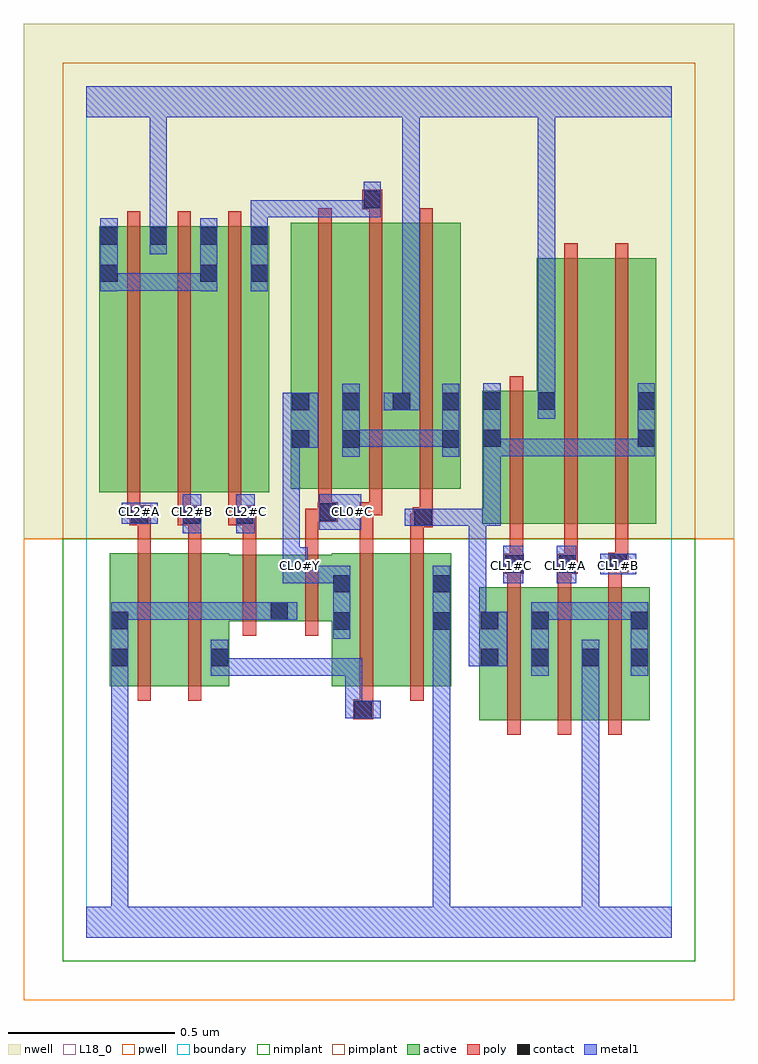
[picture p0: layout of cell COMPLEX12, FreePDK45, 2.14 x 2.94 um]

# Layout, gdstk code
import gdstk
lib = gdstk.Library(unit=1e-6, precision=1e-09)
def R(c, l, rs):  # rectangles x0, y0, x1, y1
    for r in rs: c.add(gdstk.rectangle(r[:2], r[2:], *l))
def A(c, l, x, y, w, h, nx, ny, dx, dy):  # array of equal rectangles
    R(c, l, [(x+i*dx, y+j*dy, x+i*dx+w, y+j*dy+h) for i in range(nx) for j in range(ny)])
active = (1, 0)
pwell = (2, 0)
nwell = (3, 0)
nimplant = (4, 0)
pimplant = (5, 0)
poly = (9, 0)
contact = (10, 0)
metal1 = (11, 0)
L18_0 = (18, 0)
boundary = (235, 0)

complex12 = lib.new_cell('COMPLEX12')
R(complex12, active, [(1.182,0.654,1.394,1.054), (1.334,0.654,1.546,1.054), (1.486,0.654,1.694,1.054), (1.486,0.654,1.546,0.872), (1.634,0.654,1.694,1.054), (0.07,0.756,0.13,1.156), (0.07,0.756,0.25,1.156), (0.25,0.756,0.43,1.156), (0.37,0.756,0.43,0.952), (0.738,0.756,0.918,1.156), (0.738,0.756,0.798,1.152), (0.918,0.756,1.098,1.156), (1.038,0.756,1.098,1.156), (1.182,0.756,1.242,1.054), (1.334,0.756,1.394,0.984), (0.37,0.952,0.61,1.152), (0.55,0.952,0.798,1.152), (0.55,0.952,0.61,1.012), (1.19,1.244,1.25,1.644), (1.19,1.244,1.414,1.644), (1.354,1.244,1.414,1.644), (1.354,1.244,1.534,2.044), (1.534,1.244,1.714,2.044), (1.654,1.244,1.714,2.044), (0.038,1.34,0.098,2.14), (0.038,1.34,0.246,2.14), (0.186,1.34,0.398,2.14), (0.338,1.34,0.55,2.14), (0.49,1.34,0.55,2.14), (0.614,1.35,0.674,2.15), (0.614,1.35,0.826,2.15), (0.766,1.35,0.826,2.044), (0.766,1.35,0.978,2.15), (0.918,1.35,1.126,2.15), (1.066,1.35,1.126,2.044), (0.918,1.5,0.978,2.044), (0.186,1.686,0.246,2.14), (0.338,1.686,0.398,2.14)])
R(complex12, pwell, [(-0.188,-0.188,1.948,1.2)])
R(complex12, nwell, [(-0.188,1.2,1.948,2.748)])
R(complex12, nimplant, [(-0.072,-0.072,1.832,1.2)])
R(complex12, pimplant, [(-0.072,1.2,1.832,2.632)])
A(complex12, poly, 1.266, 0.61, 0.04, 0.488, 3, 1, 0.152, 0)
A(complex12, poly, 0.122, 1.26, 0.04, 0.076, 3, 1, 0.152, 0)
A(complex12, poly, 0.122, 1.296, 0.04, 0.888, 3, 1, 0.152, 0)
A(complex12, poly, 0.698, 1.306, 0.04, 0.888, 3, 1, 0.152, 0)
R(complex12, poly, [(0.802,0.656,0.862,0.716), (0.822,0.676,0.862,0.752), (0.154,0.712,0.194,1.2), (0.306,0.712,0.346,1.2), (0.822,0.712,0.862,1.2), (0.974,0.712,1.014,1.2), (0.47,0.908,0.51,1.196), (0.658,0.908,0.698,1.196), (1.266,1.058,1.306,1.134), (1.418,1.058,1.458,1.134), (1.57,1.058,1.61,1.138), (1.256,1.094,1.316,1.154), (1.418,1.094,1.458,1.134), (1.418,1.094,1.458,1.134), (1.418,1.094,1.478,1.154), (1.57,1.098,1.63,1.158), (1.274,1.114,1.314,1.154), (1.274,1.114,1.314,1.154), (1.274,1.114,1.314,1.24), (1.438,1.114,1.478,1.24), (1.59,1.118,1.63,1.24), (1.59,1.118,1.63,1.158), (1.59,1.118,1.63,1.158), (0.47,1.156,0.51,1.28), (0.658,1.156,0.698,1.29), (0.154,1.16,0.194,1.28), (0.306,1.16,0.346,1.28), (0.822,1.16,0.862,1.31), (0.974,1.16,1.014,1.274), (1.274,1.2,1.314,1.688), (1.438,1.2,1.478,2.088), (1.59,1.2,1.63,2.088), (0.974,1.234,1.022,1.274), (0.982,1.234,1.022,1.274), (0.982,1.234,1.042,1.294), (0.13,1.24,0.194,1.3), (0.274,1.24,0.346,1.3), (0.306,1.24,0.346,1.28), (0.306,1.24,0.346,1.28), (0.426,1.24,0.506,1.3), (0.466,1.24,0.506,1.28), (0.466,1.24,0.51,1.28), (0.658,1.25,0.736,1.29), (0.696,1.25,0.736,1.29), (0.696,1.25,0.756,1.31), (1.002,1.254,1.042,1.346), (0.122,1.26,0.17,1.3), (0.13,1.26,0.17,1.3), (0.698,1.27,0.738,1.346), (0.822,1.27,0.862,1.31), (0.822,1.27,0.862,1.31), (0.822,1.27,0.89,1.31), (0.85,1.27,0.89,1.346), (0.85,2.154,0.89,2.23), (0.83,2.19,0.89,2.25)])
A(complex12, contact, 1.186, 0.816, 0.052, 0.052, 3, 1, 0.152, 0)
A(complex12, contact, 0.618, 1.586, 0.052, 0.052, 3, 1, 0.152, 0)
A(complex12, contact, 0.19, 2.084, 0.052, 0.052, 3, 1, 0.152, 0)
R(complex12, contact, [(0.806,0.66,0.858,0.712), (0.074,0.816,0.126,0.868), (0.374,0.816,0.426,0.868), (1.638,0.816,1.69,0.868), (0.742,0.926,0.794,0.978), (1.042,0.926,1.094,0.978), (0.074,0.928,0.126,0.98), (1.186,0.928,1.238,0.98), (1.338,0.928,1.39,0.98), (1.638,0.928,1.69,0.98), (0.554,0.956,0.606,1.008), (0.742,1.038,0.794,1.09), (1.042,1.038,1.094,1.09), (1.26,1.098,1.312,1.15), (1.422,1.098,1.474,1.15), (1.574,1.102,1.626,1.154), (0.986,1.238,1.038,1.29), (0.134,1.244,0.186,1.296), (0.29,1.244,0.342,1.296), (0.45,1.244,0.502,1.296), (0.7,1.254,0.752,1.306), (0.618,1.474,0.67,1.526), (0.77,1.474,0.822,1.526), (1.07,1.474,1.122,1.526), (1.194,1.476,1.246,1.528), (1.658,1.476,1.71,1.528), (1.07,1.586,1.122,1.638), (1.194,1.588,1.246,1.64), (1.358,1.588,1.41,1.64), (1.658,1.588,1.71,1.64), (0.042,1.972,0.094,2.024), (0.342,1.972,0.394,2.024), (0.494,1.972,0.546,2.024), (0.042,2.084,0.094,2.136), (0.834,2.194,0.886,2.246)])
R(complex12, metal1, [(0,0,1.76,0.092), (0.074,0.04,0.126,0.092), (0.074,0.04,0.126,0.092), (0.074,0.04,0.126,0.092), (0.074,0.04,0.126,0.092), (0.074,0.04,0.126,0.092), (0.074,0.04,0.126,0.092), (0.074,0.04,0.126,0.092), (0.074,0.04,0.126,0.092), (0.074,0.04,0.126,0.092), (0.074,0.04,0.126,0.092), (0.074,0.04,0.126,0.092), (0.074,0.04,0.126,0.092), (0.074,0.04,0.126,0.84), (1.042,0.04,1.094,0.092), (1.042,0.04,1.094,0.092), (1.042,0.04,1.094,0.092), (1.042,0.04,1.094,0.092), (1.042,0.04,1.094,0.092), (1.042,0.04,1.094,0.092), (1.042,0.04,1.094,0.092), (1.042,0.04,1.094,0.092), (1.042,0.04,1.094,0.092), (1.042,0.04,1.094,0.092), (1.042,0.04,1.094,0.092), (1.042,0.04,1.094,0.092), (1.042,0.04,1.094,0.95), (1.49,0.04,1.542,0.84), (0.778,0.66,0.83,0.712), (0.778,0.66,0.83,0.712), (0.778,0.66,0.886,0.712), (0.778,0.66,0.83,0.84), (0.074,0.788,0.126,1.008), (0.374,0.788,0.426,0.896), (0.374,0.788,0.532,0.84), (0.48,0.788,0.532,0.84), (0.48,0.788,0.536,0.84), (0.484,0.788,0.536,0.84), (0.484,0.788,0.684,0.84), (0.632,0.788,0.684,0.84), (0.632,0.788,0.684,0.84), (0.632,0.788,0.684,0.84), (0.632,0.788,0.83,0.84), (0.778,0.788,0.83,0.84), (1.338,0.788,1.39,1.008), (1.49,0.788,1.542,0.84), (1.49,0.788,1.542,0.84), (1.49,0.788,1.542,0.84), (1.49,0.788,1.542,0.84), (1.49,0.788,1.542,0.84), (1.49,0.788,1.542,0.84), (1.49,0.788,1.542,0.84), (1.49,0.788,1.542,0.84), (1.49,0.788,1.542,0.84), (1.49,0.788,1.542,0.84), (1.49,0.788,1.542,0.84), (1.49,0.788,1.542,0.84), (1.49,0.788,1.542,0.896), (1.638,0.788,1.69,1.008), (1.15,0.816,1.266,0.98), (0.742,0.898,0.794,1.118), (1.042,0.898,1.094,1.118), (1.15,0.928,1.202,1.29), (0.074,0.956,0.126,1.008), (0.074,0.956,0.126,1.008), (0.074,0.956,0.126,1.008), (0.074,0.956,0.126,1.008), (0.074,0.956,0.126,1.008), (0.074,0.956,0.126,1.008), (0.074,0.956,0.126,1.008), (0.074,0.956,0.126,1.008), (0.074,0.956,0.284,1.008), (0.232,0.956,0.284,1.008), (0.232,0.956,0.284,1.008), (0.232,0.956,0.284,1.008), (0.232,0.956,0.426,1.008), (0.374,0.956,0.426,1.008), (0.374,0.956,0.426,1.008), (0.374,0.956,0.426,1.008), (0.374,0.956,0.578,1.008), (0.526,0.956,0.634,1.008), (1.338,0.956,1.39,1.008), (1.338,0.956,1.39,1.008), (1.338,0.956,1.542,1.008), (1.49,0.956,1.542,1.008), (1.49,0.956,1.69,1.008), (1.638,0.956,1.69,1.008), (1.638,0.956,1.69,1.008), (0.59,1.066,0.666,1.174), (0.614,1.066,0.666,1.118), (0.614,1.066,0.666,1.118), (0.614,1.066,0.794,1.118), (0.742,1.066,0.794,1.118), (0.742,1.066,0.794,1.118), (1.254,1.066,1.314,1.178), (1.414,1.066,1.474,1.178), (1.546,1.092,1.654,1.154), (0.59,1.122,0.642,1.526), (0.29,1.216,0.346,1.334), (0.45,1.216,0.506,1.334), (0.7,1.226,0.826,1.334), (0.958,1.238,1.066,1.29), (1.014,1.238,1.066,1.29), (1.014,1.238,1.066,1.29), (1.014,1.238,1.202,1.29), (1.15,1.238,1.202,1.29), (1.15,1.238,1.202,1.29), (1.15,1.238,1.246,1.29), (1.194,1.238,1.246,1.5), (0.106,1.244,0.214,1.308), (0.77,1.446,0.822,1.666), (1.07,1.446,1.122,1.666), (1.194,1.448,1.246,1.5), (1.194,1.448,1.246,1.5), (1.194,1.448,1.246,1.668), (1.194,1.448,1.432,1.5), (1.38,1.448,1.432,1.5), (1.38,1.448,1.432,1.5), (1.38,1.448,1.432,1.5), (1.38,1.448,1.542,1.5), (1.49,1.448,1.542,1.5), (1.49,1.448,1.71,1.5), (1.658,1.448,1.71,1.5), (1.658,1.448,1.71,1.5), (1.658,1.448,1.71,1.668), (0.59,1.474,0.642,1.526), (0.59,1.474,0.642,1.526), (0.59,1.474,0.698,1.638), (0.77,1.476,0.822,1.528), (0.77,1.476,0.822,1.528), (0.77,1.476,0.956,1.528), (0.904,1.476,0.956,1.528), (0.904,1.476,1.092,1.528), (1.04,1.476,1.092,1.528), (1.04,1.476,1.122,1.528), (1.358,1.56,1.41,1.668), (0.894,1.586,1.002,1.638), (0.95,1.586,1.002,1.638), (0.95,1.586,1.002,1.638), (0.95,1.586,1.002,1.638), (0.95,1.586,1.002,1.638), (0.95,1.586,1.002,1.638), (0.95,1.586,1.002,1.638), (0.95,1.586,1.002,1.638), (0.95,1.586,1.002,1.638), (0.95,1.586,1.002,2.52), (1.358,1.616,1.41,2.52), (0.042,1.944,0.094,2.164), (0.342,1.944,0.394,2.164), (0.494,1.944,0.546,2.164), (0.042,1.946,0.094,1.998), (0.042,1.946,0.094,1.998), (0.042,1.946,0.236,1.998), (0.184,1.946,0.236,1.998), (0.184,1.946,0.236,1.998), (0.184,1.946,0.236,1.998), (0.184,1.946,0.394,1.998), (0.19,2.056,0.242,2.164), (0.19,2.112,0.242,2.164), (0.19,2.112,0.242,2.164), (0.19,2.112,0.242,2.164), (0.19,2.112,0.242,2.164), (0.19,2.112,0.242,2.164), (0.19,2.112,0.242,2.164), (0.19,2.112,0.242,2.164), (0.19,2.112,0.242,2.164), (0.19,2.112,0.242,2.52), (0.494,2.112,0.546,2.218), (0.494,2.166,0.546,2.218), (0.494,2.166,0.656,2.218), (0.604,2.166,0.656,2.218), (0.604,2.166,0.656,2.218), (0.604,2.166,0.656,2.218), (0.604,2.166,0.794,2.218), (0.742,2.166,0.794,2.218), (0.742,2.166,0.886,2.218), (0.834,2.166,0.886,2.274), (0,2.468,1.76,2.56), (1.358,2.468,1.41,2.52), (1.358,2.468,1.41,2.52), (1.358,2.468,1.41,2.52), (1.358,2.468,1.41,2.52), (1.358,2.468,1.41,2.52), (1.358,2.468,1.41,2.52), (1.358,2.468,1.41,2.52), (1.358,2.468,1.41,2.52)])
A(complex12, L18_0, 1.254, 1.094, 0.052, 0.052, 3, 1, 0.16, 0)
A(complex12, L18_0, 0.134, 1.254, 0.052, 0.052, 3, 1, 0.16, 0)
R(complex12, L18_0, [(0,0,1.76,0.092), (0.074,0.04,0.126,0.092), (0.074,0.04,0.126,0.092), (0.074,0.04,0.126,0.092), (0.074,0.04,0.126,0.092), (0.074,0.04,0.126,0.092), (0.074,0.04,0.126,0.092), (0.074,0.04,0.126,0.092), (0.074,0.04,0.126,0.092), (0.074,0.04,0.126,0.092), (0.074,0.04,0.126,0.092), (0.074,0.04,0.126,0.092), (0.074,0.04,0.126,0.092), (0.074,0.04,0.126,0.84), (1.042,0.04,1.094,0.092), (1.042,0.04,1.094,0.092), (1.042,0.04,1.094,0.092), (1.042,0.04,1.094,0.092), (1.042,0.04,1.094,0.092), (1.042,0.04,1.094,0.092), (1.042,0.04,1.094,0.092), (1.042,0.04,1.094,0.092), (1.042,0.04,1.094,0.092), (1.042,0.04,1.094,0.092), (1.042,0.04,1.094,0.092), (1.042,0.04,1.094,0.092), (1.042,0.04,1.094,0.95), (1.49,0.04,1.542,0.84), (0.074,0.788,0.126,1.008), (1.49,0.788,1.542,0.84), (1.49,0.788,1.542,0.84), (1.49,0.788,1.542,0.84), (1.49,0.788,1.542,0.84), (1.49,0.788,1.542,0.84), (1.49,0.788,1.542,0.84), (1.49,0.788,1.542,0.84), (1.49,0.788,1.542,0.84), (1.49,0.788,1.542,0.84), (1.49,0.788,1.542,0.84), (1.49,0.788,1.542,0.84), (1.49,0.788,1.542,0.84), (1.49,0.788,1.542,0.896), (0.742,0.898,0.794,1.118), (1.042,0.898,1.094,1.118), (0.074,0.956,0.126,1.008), (0.074,0.956,0.126,1.008), (0.074,0.956,0.126,1.008), (0.074,0.956,0.126,1.008), (0.074,0.956,0.126,1.008), (0.074,0.956,0.126,1.008), (0.074,0.956,0.126,1.008), (0.074,0.956,0.126,1.008), (0.074,0.956,0.284,1.008), (0.232,0.956,0.284,1.008), (0.232,0.956,0.284,1.008), (0.232,0.956,0.284,1.008), (0.232,0.956,0.426,1.008), (0.374,0.956,0.426,1.008), (0.374,0.956,0.426,1.008), (0.374,0.956,0.426,1.008), (0.374,0.956,0.578,1.008), (0.526,0.956,0.634,1.008), (0.59,1.066,0.666,1.174), (0.614,1.066,0.666,1.118), (0.614,1.066,0.666,1.118), (0.614,1.066,0.794,1.118), (0.742,1.066,0.794,1.118), (0.742,1.066,0.794,1.118), (1.254,1.066,1.314,1.178), (1.414,1.066,1.474,1.178), (1.546,1.092,1.654,1.154), (0.614,1.094,0.666,1.146), (0.59,1.122,0.642,1.526), (0.29,1.216,0.346,1.334), (0.45,1.216,0.506,1.334), (0.7,1.226,0.826,1.334), (0.106,1.244,0.214,1.308), (0.774,1.254,0.826,1.306), (0.59,1.474,0.642,1.526), (0.59,1.474,0.642,1.526), (0.59,1.474,0.698,1.638), (1.358,1.56,1.41,1.668), (0.894,1.586,1.002,1.638), (0.95,1.586,1.002,1.638), (0.95,1.586,1.002,1.638), (0.95,1.586,1.002,1.638), (0.95,1.586,1.002,1.638), (0.95,1.586,1.002,1.638), (0.95,1.586,1.002,1.638), (0.95,1.586,1.002,1.638), (0.95,1.586,1.002,1.638), (0.95,1.586,1.002,2.52), (1.358,1.616,1.41,2.52), (0.19,2.056,0.242,2.164), (0.19,2.112,0.242,2.164), (0.19,2.112,0.242,2.164), (0.19,2.112,0.242,2.164), (0.19,2.112,0.242,2.164), (0.19,2.112,0.242,2.164), (0.19,2.112,0.242,2.164), (0.19,2.112,0.242,2.164), (0.19,2.112,0.242,2.164), (0.19,2.112,0.242,2.52), (0,2.468,1.76,2.56), (1.358,2.468,1.41,2.52), (1.358,2.468,1.41,2.52), (1.358,2.468,1.41,2.52), (1.358,2.468,1.41,2.52), (1.358,2.468,1.41,2.52), (1.358,2.468,1.41,2.52), (1.358,2.468,1.41,2.52), (1.358,2.468,1.41,2.52)])
R(complex12, boundary, [(0,0,1.76,2.56)])
complex12.add(gdstk.Label('CL0#C', (0.8,1.28), layer=11, texttype=0))
complex12.add(gdstk.Label('CL0#Y', (0.64,1.12), layer=11, texttype=0))
complex12.add(gdstk.Label('CL1#A', (1.44,1.12), layer=11, texttype=0))
complex12.add(gdstk.Label('CL1#B', (1.6,1.12), layer=11, texttype=0))
complex12.add(gdstk.Label('CL1#C', (1.28,1.12), layer=11, texttype=0))
complex12.add(gdstk.Label('CL2#A', (0.16,1.28), layer=11, texttype=0))
complex12.add(gdstk.Label('CL2#B', (0.32,1.28), layer=11, texttype=0))
complex12.add(gdstk.Label('CL2#C', (0.48,1.28), layer=11, texttype=0))

lib.write_gds('COMPLEX12.gds')
